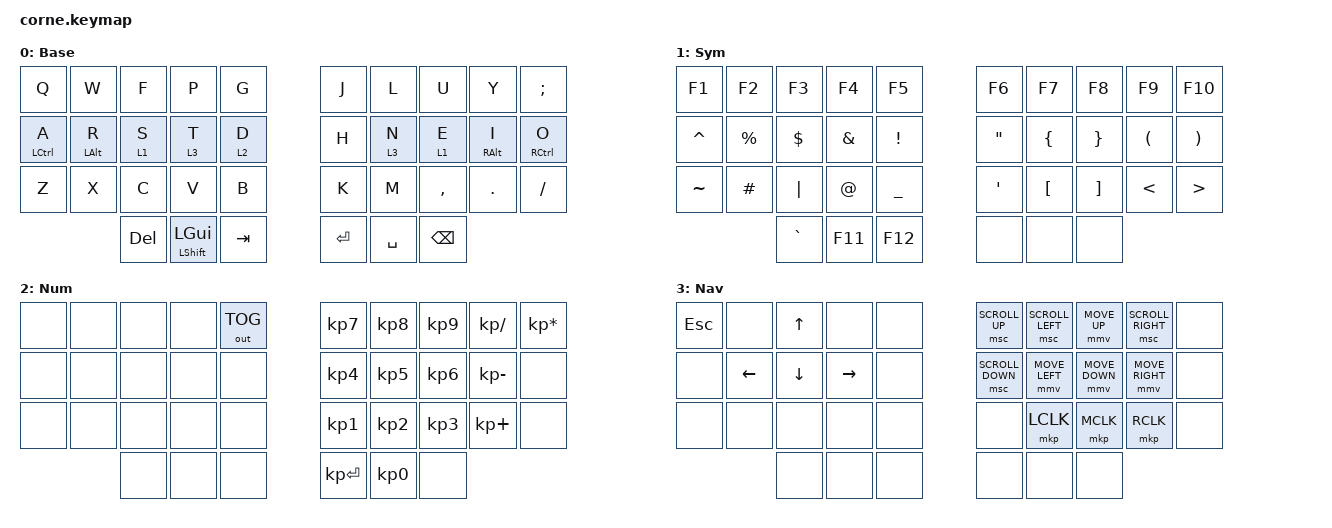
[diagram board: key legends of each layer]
#include <behaviors.dtsi>
#include <dt-bindings/zmk/keys.h>
#include <dt-bindings/zmk/bt.h>
#include "zmk-helpers/helper.h"
#include "mouse.dtsi"
#include <dt-bindings/zmk/outputs.h>

/ {
    chosen {
        zmk,matrix_transform = &five_column_transform;
    };
    
    keymap {
        compatible = "zmk,keymap";

        Base {
            bindings = <
&kp Q        &kp W           &kp F    &kp P                    &kp G      &kp J      &kp L      &kp U      &kp Y            &kp SEMI
&mt LCTRL A  &mt LEFT_ALT R  &lt 1 S  &lt 3 T                  &lt 2 D    &kp H      &lt 3 N    &lt 1 E    &mt RIGHT_ALT I  &mt RCTRL O
&kp Z        &kp X           &kp C    &kp V                    &kp B      &kp K      &kp M      &kp COMMA  &kp DOT          &kp FSLH
                                    &kp DEL  &mt LEFT_SHIFT LEFT_GUI  &kp TAB    &kp ENTER  &kp SPACE  &kp BSPC
            >;
        };

        Sym {
            bindings = <
&kp F1     &kp F2       &kp F3      &kp F4         &kp F5             &kp F6             &kp F7            &kp F8             &kp F9                &kp F10
&kp CARET  &kp PERCENT  &kp DOLLAR  &kp AMPERSAND  &kp EXCLAMATION    &kp DOUBLE_QUOTES  &kp LEFT_BRACE    &kp RIGHT_BRACE    &kp LEFT_PARENTHESIS  &kp RIGHT_PARENTHESIS
&kp TILDE  &kp HASH     &kp PIPE    &kp AT_SIGN    &kp UNDERSCORE     &kp SINGLE_QUOTE   &kp LEFT_BRACKET  &kp RIGHT_BRACKET  &kp LESS_THAN         &kp GREATER_THAN
                               &kp GRAVE   &kp F11        &kp F12            &none              &none             &none
            >;
        };

        Num {
            bindings = <
&none  &none  &none  &none  &out OUT_TOG    &kp KP_NUMBER_7  &kp KP_NUMBER_8  &kp KP_NUMBER_9  &kp KP_DIVIDE  &kp KP_MULTIPLY
&none  &none  &none  &none  &none           &kp KP_NUMBER_4  &kp KP_NUMBER_5  &kp KP_NUMBER_6  &kp KP_MINUS   &none
&none  &none  &none  &none  &none           &kp KP_NUMBER_1  &kp KP_NUMBER_2  &kp KP_NUMBER_3  &kp KP_PLUS    &none
                     &none  &none  &none           &kp KP_ENTER     &kp KP_NUMBER_0  &none
            >;
        };

        Nav {
            bindings = <
&kp ESCAPE  &none     &kp UP_ARROW  &none      &none    &msc SCROLL_UP    &msc SCROLL_LEFT  &mmv MOVE_UP    &msc SCROLL_RIGHT  &none
&none       &kp LEFT  &kp DOWN      &kp RIGHT  &none    &msc SCROLL_DOWN  &mmv MOVE_LEFT    &mmv MOVE_DOWN  &mmv MOVE_RIGHT    &none
&none       &none     &none         &none      &none    &none             &mkp LCLK         &mkp MCLK       &mkp RCLK          &none
                             &none         &none      &none    &none             &none             &none
            >;
        };
    };
};
